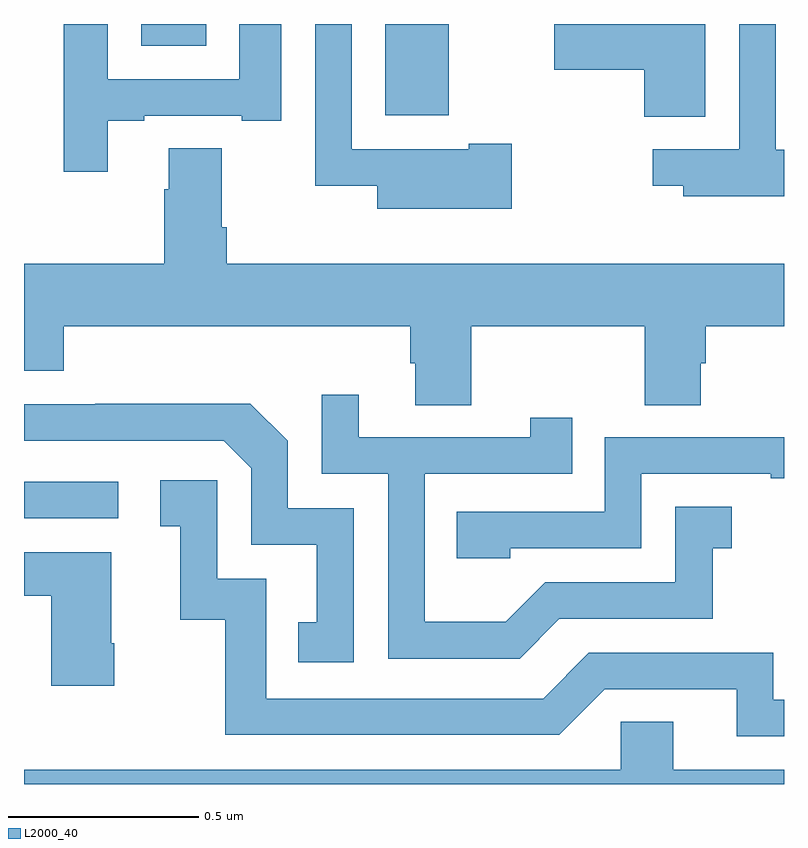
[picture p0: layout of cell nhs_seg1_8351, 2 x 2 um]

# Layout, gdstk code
import gdstk
lib = gdstk.Library(unit=1e-6, precision=1e-09)
def R(c, l, rs):  # rectangles x0, y0, x1, y1
    for r in rs: c.add(gdstk.rectangle(r[:2], r[2:], *l))
def P(c, l, *ps):  # polygons
    for p in ps: c.add(gdstk.Polygon(p, *l))
L2000_40 = (2000, 40)

nhs_seg1_8351 = lib.new_cell('nhs_seg1_8351')
R(nhs_seg1_8351, L2000_40, [(215,545.898,215.248,545.994), (215.951,546.959,216.118,547.199), (215.309,547.142,215.479,547.199)])
P(nhs_seg1_8351, L2000_40, [(216.793,547.199),(216.396,547.199),(216.396,547.079),(216.632,547.079),(216.632,546.955),(216.793,546.955)],
  [(217,546.868),(216.978,546.868),(216.978,547.199),(216.882,547.199),(216.882,546.87),(216.654,546.87),(216.654,546.773),(216.735,546.773),(216.735,546.746),(217,546.746)],
  [(215.221,546.945),(215.317,546.945),(215.317,546.957),(215.573,546.957),(215.573,546.945),(215.677,546.945),(215.677,547.199),(215.567,547.199),(215.567,547.053),(215.22,547.053),(215.22,547.199),(215.104,547.199),(215.104,546.81),(215.221,546.81)],
  [(216.283,546.884),(216.17,546.884),(216.17,546.87),(215.862,546.87),(215.862,547.199),(215.766,547.199),(215.766,546.773),(215.93,546.773),(215.93,546.713),(216.283,546.713)],
  [(216.177,546.404),(216.634,546.404),(216.634,546.196),(216.781,546.196),(216.781,546.306),(216.794,546.306),(216.794,546.404),(217,546.404),(217,546.568),(215.534,546.568),(215.534,546.664),(215.521,546.664),(215.521,546.872),(215.381,546.872),(215.381,546.764),(215.369,546.764),(215.369,546.568),(215,546.568),(215,546.287),(215.105,546.287),(215.105,546.404),(216.017,546.404),(216.017,546.306),(216.029,546.306),(216.029,546.196),(216.177,546.196)],
  [(216.409,545.634),(216.813,545.634),(216.813,545.819),(216.862,545.819),(216.862,545.929),(216.714,545.929),(216.714,545.73),(216.372,545.73),(216.268,545.626),(216.054,545.626),(216.054,546.015),(216.443,546.015),(216.443,546.163),(216.332,546.163),(216.332,546.111),(215.881,546.111),(215.881,546.223),(215.784,546.223),(215.784,546.015),(215.958,546.015),(215.958,545.529),(216.304,545.529)],
  [(215.868,545.925),(215.694,545.925),(215.694,546.102),(215.596,546.2),(215.188,546.2),(215.188,546.198),(215,546.198),(215,546.102),(215.526,546.102),(215.598,546.03),(215.598,545.829),(215.771,545.829),(215.771,545.625),(215.722,545.625),(215.722,545.52),(215.868,545.52)],
  [(216.279,545.82),(216.624,545.82),(216.624,546.015),(216.965,546.015),(216.965,546.003),(217,546.003),(217,546.111),(216.528,546.111),(216.528,545.916),(216.139,545.916),(216.139,545.793),(216.279,545.793)],
  [(217,545.421),(216.972,545.421),(216.972,545.544),(216.486,545.544),(216.366,545.424),(215.637,545.424),(215.637,545.739),(215.508,545.739),(215.508,545.998),(215.358,545.998),(215.358,545.877),(215.411,545.877),(215.411,545.631),(215.529,545.631),(215.529,545.328),(216.408,545.328),(216.528,545.448),(216.875,545.448),(216.875,545.325),(217,545.325)],
  [(215.238,545.569),(215.23,545.569),(215.23,545.809),(215,545.809),(215,545.695),(215.072,545.695),(215.072,545.457),(215.238,545.457)],
  [(217,545.236),(216.709,545.236),(216.709,545.363),(216.57,545.363),(216.57,545.236),(215,545.236),(215,545.199),(217,545.199)])

lib.write_gds('nhs_seg1_8351.gds')
